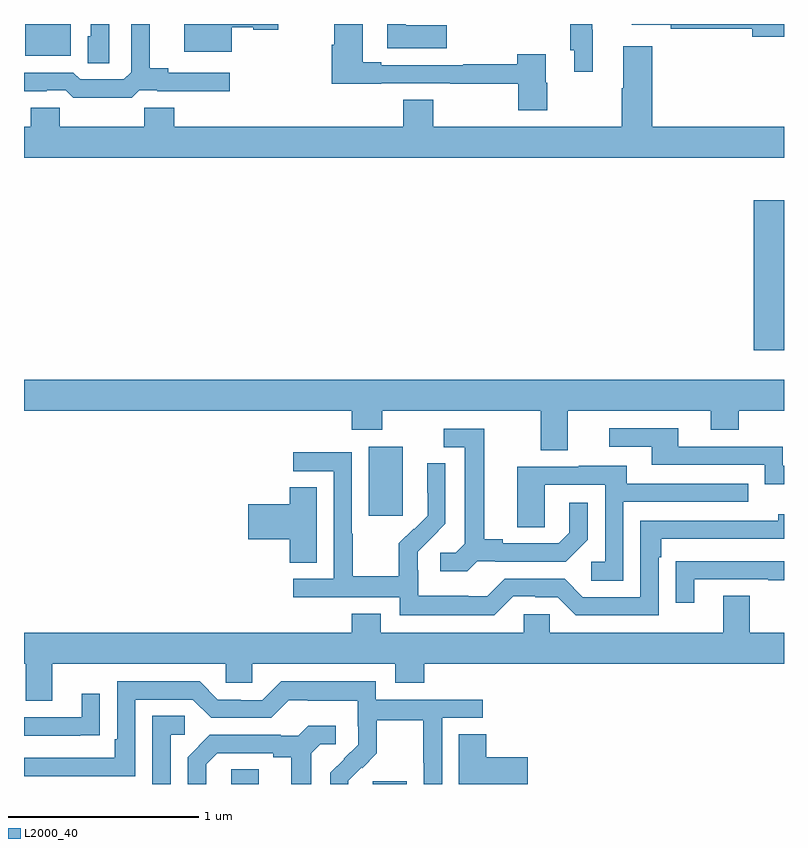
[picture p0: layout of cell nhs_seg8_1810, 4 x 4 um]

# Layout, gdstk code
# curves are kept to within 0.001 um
import gdstk
lib = gdstk.Library(unit=1e-6, precision=1e-09)
def R(c, l, rs):  # rectangles x0, y0, x1, y1
    for r in rs: c.add(gdstk.rectangle(r[:2], r[2:], *l))
def P(c, l, *ps):  # polygons
    for p in ps: c.add(gdstk.Polygon(p, *l))
L2000_40 = (2000, 40)

nhs_seg8_1810 = lib.new_cell('nhs_seg8_1810')
R(nhs_seg8_1810, L2000_40, [(228.09,1083.9,228.235,1083.977), (228.836,1083.9,229.015,1083.915), (228.815,1085.313,228.994,1085.674), (230.84,1086.182,231,1086.972), (227.006,1087.733,227.245,1087.9)])
P(nhs_seg8_1810, L2000_40, [(227.607,1087.551),(227.701,1087.551),(227.701,1087.547),(228.082,1087.547),(228.082,1087.644),(227.758,1087.644),(227.758,1087.667),(227.663,1087.667),(227.663,1087.9),(227.565,1087.9),(227.565,1087.647),(227.526,1087.608),(227.295,1087.608),(227.259,1087.644),(227,1087.644),(227,1087.547),(227.12,1087.547),(227.12,1087.551),(227.22,1087.551),(227.26,1087.512),(227.567,1087.512)],
  [(229.755,1087.59),(229.747,1087.59),(229.747,1087.741),(229.595,1087.741),(229.595,1087.688),(229.312,1087.688),(229.312,1087.683),(228.88,1087.683),(228.88,1087.699),(228.784,1087.699),(228.784,1087.9),(228.632,1087.9),(228.632,1087.79),(228.62,1087.79),(228.62,1087.585),(228.88,1087.585),(228.88,1087.587),(229.243,1087.587),(229.243,1087.585),(229.6,1087.585),(229.6,1087.446),(229.755,1087.446)],
  [(229.225,1087.894),(229.008,1087.894),(229.008,1087.9),(228.912,1087.9),(228.912,1087.876),(228.913,1087.876),(228.913,1087.773),(229.225,1087.773)],
  [(231,1087.9),(230.198,1087.9),(230.198,1087.896),(230.404,1087.896),(230.404,1087.876),(230.834,1087.876),(230.834,1087.834),(231,1087.834)],
  [(227.448,1087.9),(227.352,1087.9),(227.352,1087.836),(227.336,1087.836),(227.336,1087.693),(227.448,1087.693)],
  [(228.094,1087.883),(228.207,1087.883),(228.207,1087.871),(228.337,1087.871),(228.337,1087.9),(227.843,1087.9),(227.843,1087.754),(228.094,1087.754)],
  [(229.993,1087.871),(229.992,1087.871),(229.992,1087.9),(229.876,1087.9),(229.876,1087.762),(229.895,1087.762),(229.895,1087.65),(229.993,1087.65)],
  [(231,1087.36),(230.306,1087.36),(230.306,1087.783),(230.153,1087.783),(230.153,1087.562),(230.146,1087.562),(230.146,1087.36),(229.155,1087.36),(229.155,1087.502),(228.995,1087.502),(228.995,1087.36),(227.792,1087.36),(227.792,1087.458),(227.632,1087.458),(227.632,1087.36),(227.187,1087.36),(227.187,1087.458),(227.036,1087.458),(227.036,1087.36),(227,1087.36),(227,1087.196),(231,1087.196)],
  [(227,1085.864),(228.725,1085.864),(228.725,1085.765),(228.885,1085.765),(228.885,1085.864),(229.721,1085.864),(229.721,1085.656),(229.861,1085.656),(229.861,1085.864),(230.615,1085.864),(230.615,1085.765),(230.763,1085.765),(230.763,1085.864),(231,1085.864),(231,1086.028),(227,1086.028)],
  [(231,1085.574),(230.994,1085.574),(230.994,1085.676),(230.443,1085.676),(230.443,1085.772),(230.079,1085.772),(230.079,1085.676),(230.303,1085.676),(230.303,1085.58),(230.898,1085.58),(230.898,1085.477),(231,1085.477)],
  [(229.386,1085.073),(229.48,1085.073),(229.48,1085.07),(229.852,1085.07),(229.968,1085.186),(229.968,1085.38),(229.871,1085.38),(229.871,1085.223),(229.814,1085.166),(229.519,1085.166),(229.519,1085.189),(229.423,1085.189),(229.423,1085.769),(229.209,1085.769),(229.209,1085.673),(229.319,1085.673),(229.319,1085.165),(229.272,1085.118),(229.191,1085.118),(229.191,1085.021),(229.334,1085.021)],
  [(229.575,1084.887),(229.691,1084.887),(229.691,1084.884),(229.809,1084.884),(229.905,1084.788),(230.34,1084.788),(230.34,1085.093),(230.353,1085.093),(230.353,1085.19),(231,1085.19),(231,1085.32),(230.969,1085.32),(230.969,1085.286),(230.244,1085.286),(230.244,1084.884),(229.941,1084.884),(229.845,1084.98),(229.53,1084.98),(229.437,1084.887),(229.337,1084.887),(229.337,1084.891),(229.074,1084.891),(229.074,1085.025),(229.072,1085.025),(229.072,1085.122),(229.218,1085.27),(229.218,1085.588),(229.122,1085.588),(229.122,1085.434),(229.124,1085.434),(229.124,1085.312),(229.053,1085.241),(229.05,1085.244),(228.973,1085.167),(228.973,1084.993),(228.729,1084.993),(228.729,1085.216),(228.726,1085.216),(228.726,1085.646),(228.417,1085.646),(228.417,1085.547),(228.63,1085.547),(228.63,1084.98),(228.417,1084.98),(228.417,1084.884),(228.978,1084.884),(228.978,1084.787),(229.475,1084.787)],
  [(230.154,1085.385),(230.813,1085.385),(230.813,1085.481),(230.173,1085.481),(230.173,1085.575),(229.919,1085.575),(229.919,1085.571),(229.595,1085.571),(229.595,1085.251),(229.74,1085.251),(229.74,1085.475),(230.058,1085.475),(230.058,1085.07),(229.986,1085.07),(229.986,1084.969),(230.154,1084.969)],
  [(228.541,1085.462),(228.398,1085.462),(228.398,1085.372),(228.18,1085.372),(228.18,1085.189),(228.398,1085.189),(228.398,1085.065),(228.541,1085.065)],
  [(230.527,1084.977),(230.917,1084.977),(230.917,1084.972),(231,1084.972),(231,1085.073),(230.533,1085.073),(230.533,1085.072),(230.431,1085.072),(230.431,1084.854),(230.527,1084.854)],
  [(227.149,1084.532),(228.063,1084.532),(228.063,1084.434),(228.201,1084.434),(228.201,1084.532),(228.953,1084.532),(228.953,1084.433),(229.106,1084.433),(229.106,1084.532),(231,1084.532),(231,1084.696),(230.821,1084.696),(230.821,1084.891),(230.681,1084.891),(230.681,1084.696),(229.767,1084.696),(229.767,1084.794),(229.629,1084.794),(229.629,1084.696),(228.877,1084.696),(228.877,1084.795),(228.725,1084.795),(228.725,1084.696),(227,1084.696),(227,1084.532),(227.009,1084.532),(227.009,1084.338),(227.149,1084.338)],
  [(228.707,1083.917),(228.777,1083.987),(228.78,1083.984),(228.857,1084.061),(228.857,1084.236),(229.102,1084.236),(229.102,1084.012),(229.104,1084.012),(229.104,1083.9),(229.2,1083.9),(229.2,1084.248),(229.414,1084.248),(229.414,1084.344),(228.852,1084.344),(228.852,1084.441),(228.355,1084.441),(228.255,1084.341),(228.14,1084.341),(228.14,1084.344),(228.021,1084.344),(227.925,1084.44),(227.49,1084.44),(227.49,1084.135),(227.477,1084.135),(227.477,1084.038),(227,1084.038),(227,1083.942),(227.586,1083.942),(227.586,1084.344),(227.889,1084.344),(227.985,1084.248),(228.3,1084.248),(228.393,1084.341),(228.493,1084.341),(228.493,1084.337),(228.756,1084.337),(228.756,1084.203),(228.758,1084.203),(228.758,1084.106),(228.612,1083.958),(228.612,1083.9),(228.707,1083.9)],
  [(227.297,1084.156),(227.399,1084.156),(227.399,1084.375),(227.303,1084.375),(227.303,1084.251),(227,1084.251),(227,1084.155),(227.297,1084.155)],
  [(227.772,1084.158),(227.845,1084.158),(227.845,1084.259),(227.676,1084.259),(227.676,1083.9),(227.772,1083.9)],
  [(227.959,1084.005),(228.016,1084.062),(228.311,1084.062),(228.311,1084.04),(228.407,1084.04),(228.407,1083.9),(228.511,1083.9),(228.511,1084.063),(228.558,1084.11),(228.64,1084.11),(228.64,1084.207),(228.496,1084.207),(228.444,1084.155),(228.35,1084.155),(228.35,1084.158),(227.978,1084.158),(227.862,1084.042),(227.862,1083.9),(227.959,1083.9)],
  [(229.651,1084.04),(229.433,1084.04),(229.433,1084.163),(229.289,1084.163),(229.289,1083.9),(229.651,1083.9)])

lib.write_gds('nhs_seg8_1810.gds')
